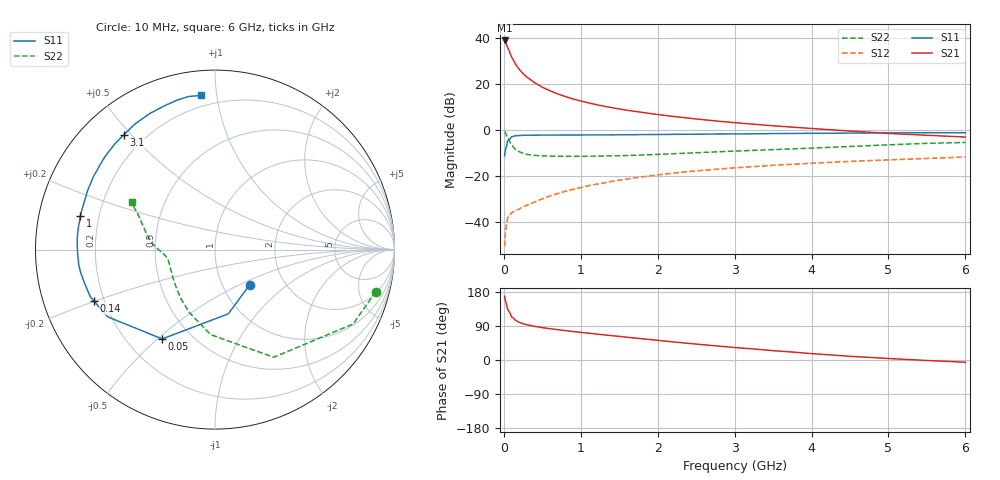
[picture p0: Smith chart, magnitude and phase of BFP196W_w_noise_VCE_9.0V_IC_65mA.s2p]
! Infineon Technologies  Discrete & RF Semiconductors
! BFP196W
! VCE =  9.0 V,  IC =  65 mA
! Common Emitter S-Parameters:  Jan 2017
# GHz  S  MA  R  50
!  f  S11  S21  S12  S22
! GHz  MAG  ANG  MAG  ANG  MAG  ANG  MAG  ANG
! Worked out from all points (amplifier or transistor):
!   77 points, 10 MHz to 6 GHz, reference 50 ohm
!   highest |S21| = 38.8 dB at 10 MHz (marker M1)
!   |S21| within 3 dB of that: start of sweep to 49.31 MHz
!   unconditionally stable (mu >= 1): 663.3 MHz to 3.274 GHz
!   at 130 MHz: K = 0.45, MSG = 32.7 dB, |S12| = -35.4 dB
!   at 2.2 GHz: K = 1.04, MAG = 11.1 dB, |S12| = -18.8 dB
!   at 6 GHz: K = 0.93, MSG = 4.3 dB, |S12| = -11.8 dB
!   lowest NFmin = 1.51 dB at 450 MHz
!   S11 on the Smith chart (normalised r, x): 10 MHz: 1.34, -0.57; 50 MHz: 0.35, -0.52; 140 MHz: 0.16, -0.20; 1 GHz: 0.13, +0.12; 3.1 GHz: 0.12, +0.48; 6 GHz: 0.13, +0.90
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0.01  0.2755 -45.6  86.6 168.4  0.003 77.8  0.9262 -14.6
0.02  0.3656 -78.3  81.78 156.9  0.0058 72.5  0.8743 -28.3
0.05  0.5782 -120.6  60.94 133.0  0.0123 52.4  0.6833 -61.4
0.1  0.7061 -148.0  38.06 113.8  0.0158 43.9  0.4742 -93.0
0.14  0.7332 -157.1  28.99 107.3  0.0173 43.0  0.3943 -107.5
0.15  0.7427 -159.3  26.81 105.0  0.0177 42.8  0.3793 -112.0
0.2  0.7512 -166.0  20.47 99.5  0.0192 45.6  0.3353 -123.9
0.25  0.7597 -170.5  16.53 95.7  0.0216 47.1  0.3089 -132.8
0.3  0.7637 -173.5  13.83 93.0  0.0231 49.8  0.2943 -139.1
0.4  0.766 -178.4  10.47 88.7  0.0271 54.8  0.2792 -147.9
0.5  0.7677 178.2  8.381 85.4  0.0319 57.6  0.272 -153.4
0.6  0.7698 175.3  7.003 82.6  0.0368 59.6  0.2694 -157.5
0.7  0.7704 172.8  6.003 80.1  0.0415 61.4  0.2666 -160.3
0.8  0.7711 170.2  5.259 77.5  0.0465 63.1  0.2665 -162.4
1  0.7732 166.0  4.215 72.9  0.0561 63.2  0.2666 -166.1
1.1  0.7737 163.8  3.841 70.8  0.0614 63.8  0.2675 -167.2
1.5  0.7811 156.1  2.831 62.3  0.0809 62.2  0.2752 -171.8
2.1  0.7937 144.8  2.049 49.9  0.1101 58.5  0.298 -177.3
3.1  0.8162 128.6  1.385 31.4  0.1536 49.8  0.3507 174.2
4.1  0.8417 114.4  1.042 15.5  0.192 41.4  0.4073 164.1
5.1  0.8596 103.6  0.819 2.9  0.2262 33.5  0.4794 154.8
6  0.8627 95.2  0.697 -6.0  0.2565 26.7  0.5321 150.0
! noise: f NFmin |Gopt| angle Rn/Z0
0.45  1.51  0.53  -175  0.06
0.9  1.64  0.57  -170  0.07
1.9  2.49  0.7  -148  0.18
2.4  2.88  0.74  -144  0.28
